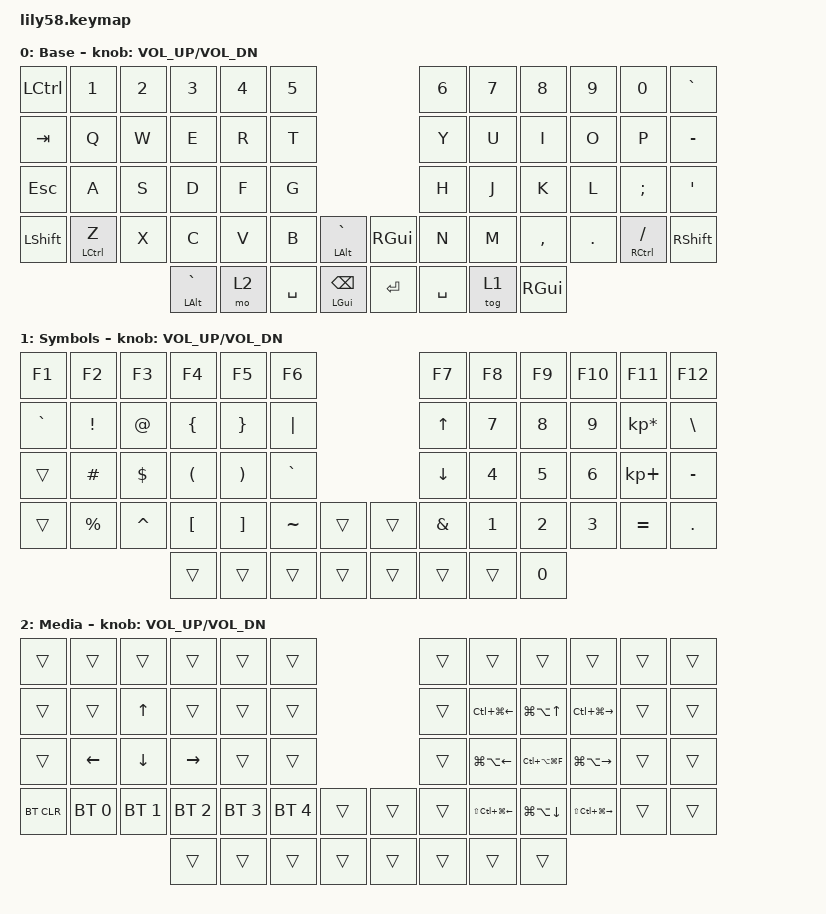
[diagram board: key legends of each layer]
/*
 * Copyright (c) 2020 The ZMK Contributors
 *
 * SPDX-License-Identifier: MIT
 */

#include <behaviors.dtsi>
#include <dt-bindings/zmk/keys.h>
#include <dt-bindings/zmk/bt.h>
#include <dt-bindings/zmk/ext_power.h>

/ {
    keymap {
        compatible = "zmk,keymap";

        default_layer {
// ------------------------------------------------------------------------------------------------------------
// |  CTRL  |  1  |  2  |  3   |  4   |  5   |                   |  6   |  7    |  8    |  9   |   0   |   `   |
// |  TAB   |  Q  |  W  |  E   |  R   |  T   |                   |  Y   |  U    |  I    |  O   |   P   |   -   |
// |  ESC   |  A  |  S  |  D   |  F   |  G   |                   |  H   |  J    |  K    |  L   |   ;   |   '   |
// | SHIFT  |  Z  |  X  |  C   |  V   |  B   |   "["  |  |  "]"  |  N   |  M    |  ,    |  .   |   /   | SHIFT |
//                      | ALT  | GUI  | LOWER|  SPACE |  | ENTER | RAISE| BSPC  | GUI   |
            display-name = "Base";
            bindings = <
&kp LCTRL   &kp N1       &kp N2  &kp N3           &kp N4      &kp N5                                       &kp N6    &kp N7     &kp N8    &kp N9  &kp N0         &kp GRAVE
&kp TAB     &kp Q        &kp W   &kp E            &kp R       &kp T                                        &kp Y     &kp U      &kp I     &kp O   &kp P          &kp MINUS
&kp ESC     &kp A        &kp S   &kp D            &kp F       &kp G                                        &kp H     &kp J      &kp K     &kp L   &kp SEMI       &kp SQT
&kp LSHFT   &mt LCTRL Z  &kp X   &kp C            &kp V       &kp B           &mt LALT GRAVE   &kp RGUI    &kp N     &kp M      &kp COMMA &kp DOT &mt RCTRL FSLH &kp RSHFT
                                 &mt LALT GRAVE   &mo 2       &kp SPACE       &mt LGUI BSPC    &kp RET     &kp SPACE &tog 1     &kp RGUI
            >;

            sensor-bindings = <&inc_dec_kp C_VOL_UP C_VOL_DN>;
        };

        lower_layer {
// ------------------------------------------------------------------------------------------------------------
// |  F1   |  F2 |  F3 |  F4  |  F5  |  F6  |                   |  F7  |  F8   |  F9   |  F10 |  F11  |  F12  |
// |   `   |  !  |  @  |  #   |  $   |  %   |                   |  ^   |  &    |  *    |  (   |   )   |   ~   |
// |       |     |     |      |      |      |        |  |       |      |  _    |  +    |  {   |   }   |  "|"  |
//                     |      |      |      |        |  |       |      |       |       |
            display-name = "Symbols";
            bindings = <

&kp F1     &kp F2     &kp F3      &kp F4    &kp F5     &kp F6                        &kp F7     &kp F8  &kp F9  &kp F10   &kp F11          &kp F12
&kp GRAVE  &kp EXCL   &kp AT      &kp LBRC  &kp RBRC   &kp PIPE                      &kp UP     &kp N7  &kp N8  &kp N9    &kp KP_MULTIPLY  &kp BSLH
&trans     &kp HASH   &kp DOLLAR  &kp LPAR  &kp RPAR   &kp GRAVE                     &kp DOWN   &kp N4  &kp N5  &kp N6    &kp KP_PLUS      &kp MINUS
&trans     &kp PRCNT  &kp CARET   &kp LBKT  &kp RBKT   &kp TILDE   &trans   &trans   &kp AMPS   &kp N1  &kp N2  &kp N3    &kp EQUAL        &kp DOT
                                  &trans    &trans     &trans      &trans   &trans   &trans     &trans  &kp N0
            >;

            sensor-bindings = <&inc_dec_kp C_VOL_UP C_VOL_DN>;
        };

        raise_layer {
// ------------------------------------------------------------------------------------------------------------
// |   `   |  1  |  2  |  3   |  4   |  5   |                   |  6   |   7   |   8   |  9   |   0   |       |
// |   F1  |  F2 |  F3 |  F4  |  F5  |  F6  |                   |      |   <-  |   v   |  ^   |  ->   |       |
// |   F7  |  F8 |  F9 |  F10 |  F11 |  F12 |        |  |       |  +   |   -   |   =   |  [   |   ]   |   \   |
// | BTCLR | BT1 | BT2 |  BT3 |  BT4 |  BT5 |                   |      |       |       |      |       |       |
//                     |      |      |      |        |  |       |      |       |       |
            display-name = "Media";
            bindings = <
&trans     &trans       &trans       &trans       &trans       &trans                           &trans &trans               &trans            &trans                &trans &trans 
&trans     &trans       &kp UP       &trans       &trans       &trans                           &trans &kp LC(LG(LEFT))     &kp LG(LA(UP))    &kp LC(LG(RIGHT))     &trans &trans 
&trans     &kp LEFT     &kp DOWN     &kp RIGHT    &trans       &trans                           &trans &kp LG(LA(LEFT))     &kp LC(LA(LG(F))) &kp LG(LA(RIGHT))     &trans &trans 
&bt BT_CLR &bt BT_SEL 0 &bt BT_SEL 1 &bt BT_SEL 2 &bt BT_SEL 3 &bt BT_SEL 4   &trans   &trans   &trans &kp LS(LC(LG(LEFT))) &kp LG(LA(DOWN))  &kp LS(LC(LG(RIGHT))) &trans &trans
                                     &trans       &trans       &trans         &trans   &trans   &trans &trans               &trans            
            >;

            sensor-bindings = <&inc_dec_kp C_VOL_UP C_VOL_DN>;
        };

        extra_1 {
            status = "reserved";
        };

        extra_2 {
            status = "reserved";
        };

        extra_3 {
            status = "reserved";
        };
    };
};
